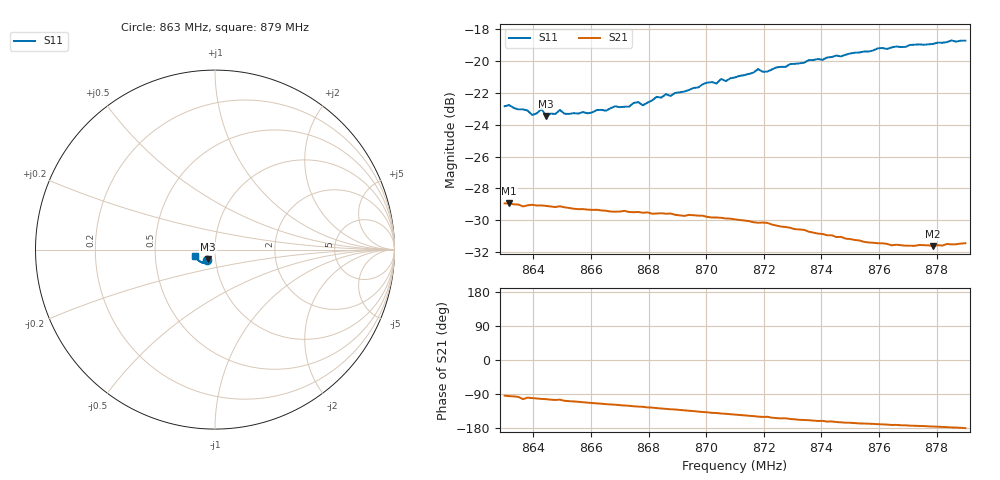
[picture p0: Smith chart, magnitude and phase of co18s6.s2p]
# HZ S RI R 50
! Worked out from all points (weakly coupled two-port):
!   101 points, 863 MHz to 879 MHz, reference 50 ohm
!   highest |S21| = -28.94 dB at 863.16 MHz (marker M1); lowest = -31.6 dB at 877.88 MHz (marker M2)
!   lowest |S11| = -23.4 dB at 864.44 MHz (marker M3), VSWR 1.14, Z = 46 - j5.05 ohm
!   |S11| at or under -10 dB: start of sweep to end of sweep
!   S12 and S22 are empty: the file has one direction only
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8.63e8  -0.0452 -0.0562  -0.00249 -0.0356  0 0  0 0
8.6316e8  -0.0455 -0.0567  -0.00332 -0.0356  0 0  0 0
8.638e8  -0.0421 -0.0558  -0.00566 -0.0348  0 0  0 0
8.6396e8  -0.0398 -0.0547  -0.0065 -0.0348  0 0  0 0
8.6428e8  -0.0403 -0.0581  -0.00772 -0.0343  0 0  0 0
8.6444e8  -0.0391 -0.0547  -0.00809 -0.0341  0 0  0 0
8.6492e8  -0.0402 -0.0575  -0.00888 -0.0338  0 0  0 0
8.6508e8  -0.038 -0.0568  -0.0105 -0.0331  0 0  0 0
8.6572e8  -0.036 -0.059  -0.0125 -0.0319  0 0  0 0
8.6732e8  -0.0354 -0.0626  -0.0172 -0.0288  0 0  0 0
8.6764e8  -0.0376 -0.0641  -0.0182 -0.0282  0 0  0 0
8.678e8  -0.0362 -0.0629  -0.0184 -0.0278  0 0  0 0
8.6828e8  -0.0387 -0.0668  -0.0199 -0.0265  0 0  0 0
8.6844e8  -0.0378 -0.0667  -0.0205 -0.0262  0 0  0 0
8.7004e8  -0.0454 -0.0724  -0.024 -0.0217  0 0  0 0
8.71e8  -0.0503 -0.0732  -0.0258 -0.0187  0 0  0 0
8.718e8  -0.0584 -0.0741  -0.0267 -0.0158  0 0  0 0
8.7212e8  -0.0564 -0.0734  -0.0268 -0.0156  0 0  0 0
8.7372e8  -0.0692 -0.0732  -0.0272 -0.00994  0 0  0 0
8.7644e8  -0.093 -0.0594  -0.0261 -0.00394  0 0  0 0
8.7788e8  -0.1029 -0.047  -0.0261 -0.00201  0 0  0 0
8.79e8  -0.1097 -0.0372  -0.0268 -4.9e-05  0 0  0 0
